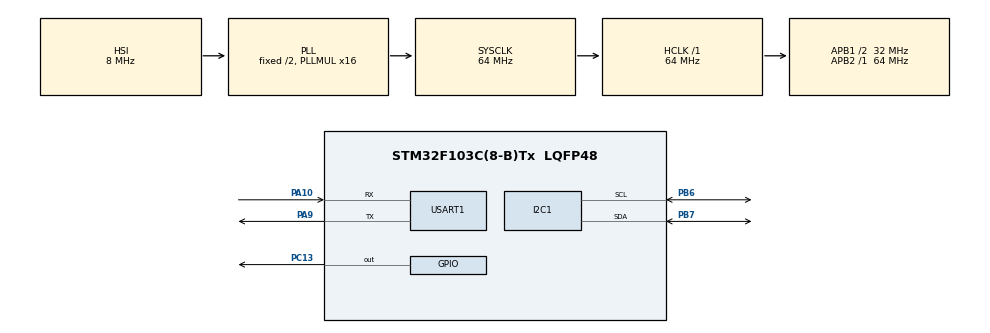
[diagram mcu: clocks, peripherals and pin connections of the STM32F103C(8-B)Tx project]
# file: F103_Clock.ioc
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I2C1.I2C_Mode=I2C_Fast
Mcu.Family=STM32F1
Mcu.Name=STM32F103C(8-B)Tx
Mcu.Package=LQFP48
NVIC.PriorityGroup=NVIC_PRIORITYGROUP_4
PA10.Mode=Asynchronous
PA10.Signal=USART1_RX
PA13.Mode=Serial_Wire
PA13.Signal=SYS_JTMS-SWDIO
PA14.Mode=Serial_Wire
PA14.Signal=SYS_JTCK-SWCLK
PA9.Mode=Asynchronous
PA9.Signal=USART1_TX
PB6.Mode=I2C
PB6.Signal=I2C1_SCL
PB7.Mode=I2C
PB7.Signal=I2C1_SDA
PC13-TAMPER-RTC.Signal=GPIO_Output
ProjectManager.HeapSize=0x200
ProjectManager.StackSize=0x400
ProjectManager.TargetToolchain=SW4STM32
RCC.AHBFreq_Value=64000000
RCC.APB1CLKDivider=RCC_HCLK_DIV2
RCC.APB1Freq_Value=32000000
RCC.APB1TimFreq_Value=64000000
RCC.APB2Freq_Value=64000000
RCC.APB2TimFreq_Value=64000000
RCC.HCLKFreq_Value=64000000
RCC.PLLMUL=RCC_PLL_MUL16
RCC.SYSCLKFreq_VALUE=64000000
RCC.SYSCLKSource=RCC_SYSCLKSOURCE_PLLCLK
RCC.USBFreq_Value=42666666.666666664
RCC.USBPrescaler=RCC_USBCLKSOURCE_PLL_DIV1_5
USART1.VirtualMode=VM_ASYNC
board=F103_Clock

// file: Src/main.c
/**
  ******************************************************************************
  * File Name          : main.c
  * Description        : Main program body
  ******************************************************************************
  ** This notice applies to any and all portions of this file
  * that are not between comment pairs USER CODE BEGIN and
  * USER CODE END. Other portions of this file, whether
  * inserted by the user or by software development tools
  * are owned by their respective copyright owners.
  *
  * COPYRIGHT(c) 2018 STMicroelectronics
  *
  * Redistribution and use in source and binary forms, with or without modification,
  * are permitted provided that the following conditions are met:
  *   1. Redistributions of source code must retain the above copyright notice,
  *      this list of conditions and the following disclaimer.
  *   2. Redistributions in binary form must reproduce the above copyright notice,
  *      this list of conditions and the following disclaimer in the documentation
  *      and/or other materials provided with the distribution.
  *   3. Neither the name of STMicroelectronics nor the names of its contributors
  *      may be used to endorse or promote products derived from this software
  *      without specific prior written permission.
  *
  * THIS SOFTWARE IS PROVIDED BY THE COPYRIGHT HOLDERS AND CONTRIBUTORS "AS IS"
  * AND ANY EXPRESS OR IMPLIED WARRANTIES, INCLUDING, BUT NOT LIMITED TO, THE
  * IMPLIED WARRANTIES OF MERCHANTABILITY AND FITNESS FOR A PARTICULAR PURPOSE ARE
  * DISCLAIMED. IN NO EVENT SHALL THE COPYRIGHT HOLDER OR CONTRIBUTORS BE LIABLE
  * FOR ANY DIRECT, INDIRECT, INCIDENTAL, SPECIAL, EXEMPLARY, OR CONSEQUENTIAL
  * DAMAGES (INCLUDING, BUT NOT LIMITED TO, PROCUREMENT OF SUBSTITUTE GOODS OR
  * SERVICES; LOSS OF USE, DATA, OR PROFITS; OR BUSINESS INTERRUPTION) HOWEVER
  * CAUSED AND ON ANY THEORY OF LIABILITY, WHETHER IN CONTRACT, STRICT LIABILITY,
  * OR TORT (INCLUDING NEGLIGENCE OR OTHERWISE) ARISING IN ANY WAY OUT OF THE USE
  * OF THIS SOFTWARE, EVEN IF ADVISED OF THE POSSIBILITY OF SUCH DAMAGE.
  *
  ******************************************************************************
  */
#include "main.h"
#include "stm32f1xx_hal.h"
#include "i2c.h"
#include "usart.h"
#include "gpio.h"

/* USER CODE BEGIN Includes */
#include "string.h"
#include "stdio.h"
/* USER CODE END Includes */

/* USER CODE BEGIN PV */
/* Private variables ---------------------------------------------------------*/

/* USER CODE END PV */

void SystemClock_Config(void);

/* USER CODE BEGIN PFP */
/* Private function prototypes -----------------------------------------------*/

/* USER CODE END PFP */

int main(void)
{

  /* MCU Configuration----------------------------------------------------------*/

  /* Reset of all peripherals, Initializes the Flash interface and the Systick. */
  HAL_Init();

  /* Configure the system clock */
  SystemClock_Config();

  /* Initialize all configured peripherals */
  MX_GPIO_Init();
  MX_I2C1_Init();
  MX_USART1_UART_Init();

  /* Infinite loop */
  /* USER CODE BEGIN WHILE */
	while (1)
	{
		char transmitData[20];
		uint8_t data[7];

		HAL_I2C_Mem_Read(&hi2c1, (uint16_t)DS3231_ADDRESS << 1, 0x00, 1, data, 7, 0xFFFF);

		uint8_t sec = ConvertData(data[0]);
		uint8_t min = ConvertData(data[1]);
		uint8_t hour = ConvertData(data[2]);
		uint8_t day = ConvertData(data[4]);
		uint8_t month = ConvertData(data[5]);
		uint8_t year = ConvertData(data[6]);

		sprintf(transmitData, "Time: %d:%d:%d,\tDate: %d.%d.%d\r\n", hour, min, sec, day, month, year);
		HAL_UART_Transmit(&huart1, (uint8_t*) transmitData, strlen(transmitData), 0xFFFF);

		HAL_Delay(1000);

  /* USER CODE END WHILE */

	}

}

/** System Clock Configuration
*/
void SystemClock_Config(void)
{

  RCC_OscInitTypeDef RCC_OscInitStruct;
  RCC_ClkInitTypeDef RCC_ClkInitStruct;

    /**Initializes the CPU, AHB and APB busses clocks
    */
  RCC_OscInitStruct.OscillatorType = RCC_OSCILLATORTYPE_HSI;
  RCC_OscInitStruct.HSIState = RCC_HSI_ON;
  RCC_OscInitStruct.HSICalibrationValue = 16;
  RCC_OscInitStruct.PLL.PLLState = RCC_PLL_ON;
  RCC_OscInitStruct.PLL.PLLSource = RCC_PLLSOURCE_HSI_DIV2;
  RCC_OscInitStruct.PLL.PLLMUL = RCC_PLL_MUL16;
  if (HAL_RCC_OscConfig(&RCC_OscInitStruct) != HAL_OK)
  {
    _Error_Handler(__FILE__, __LINE__);
  }

    /**Initializes the CPU, AHB and APB busses clocks
    */
  RCC_ClkInitStruct.ClockType = RCC_CLOCKTYPE_HCLK|RCC_CLOCKTYPE_SYSCLK
                              |RCC_CLOCKTYPE_PCLK1|RCC_CLOCKTYPE_PCLK2;
  RCC_ClkInitStruct.SYSCLKSource = RCC_SYSCLKSOURCE_PLLCLK;
  RCC_ClkInitStruct.AHBCLKDivider = RCC_SYSCLK_DIV1;
  RCC_ClkInitStruct.APB1CLKDivider = RCC_HCLK_DIV2;
  RCC_ClkInitStruct.APB2CLKDivider = RCC_HCLK_DIV1;

  if (HAL_RCC_ClockConfig(&RCC_ClkInitStruct, FLASH_LATENCY_2) != HAL_OK)
  {
    _Error_Handler(__FILE__, __LINE__);
  }

    /**Configure the Systick interrupt time
    */
  HAL_SYSTICK_Config(HAL_RCC_GetHCLKFreq()/1000);

    /**Configure the Systick
    */
  HAL_SYSTICK_CLKSourceConfig(SYSTICK_CLKSOURCE_HCLK);

  /* SysTick_IRQn interrupt configuration */
  HAL_NVIC_SetPriority(SysTick_IRQn, 0, 0);
}

/* USER CODE BEGIN 4 */
uint8_t ConvertData(uint8_t data)
{
	uint8_t result = ((data>>4)*10+(0x0F&data));
	return result;
}
/* USER CODE END 4 */

void _Error_Handler(char * file, int line)
{
  /* USER CODE BEGIN Error_Handler_Debug */
	/* User can add his own implementation to report the HAL error return state */
	while(1)
	{
		HAL_GPIO_TogglePin(GPIOC, GPIO_PIN_13);
		HAL_Delay(50);
	}
  /* USER CODE END Error_Handler_Debug */
}

/************************ (C) COPYRIGHT STMicroelectronics *****END OF FILE****/
